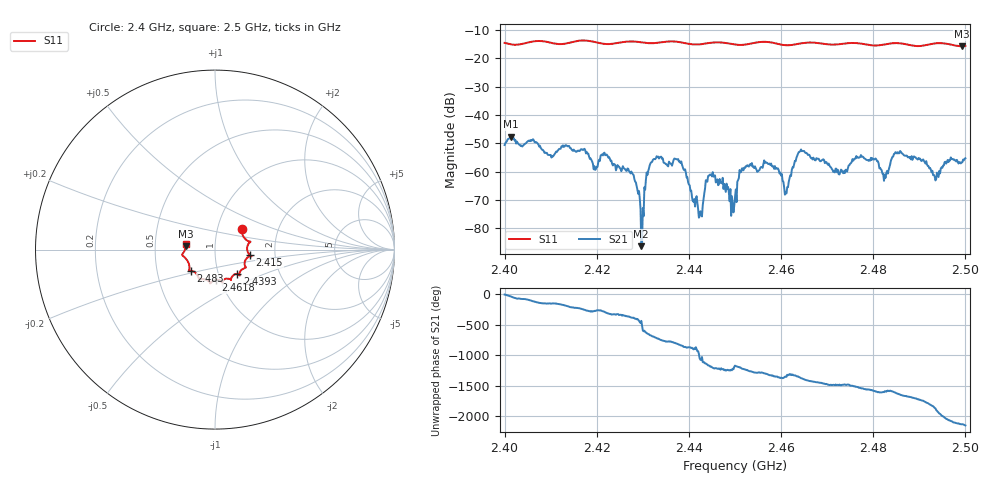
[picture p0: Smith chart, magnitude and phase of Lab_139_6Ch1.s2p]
# Hz S RI R 50
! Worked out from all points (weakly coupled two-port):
!   601 points, 2.4 GHz to 2.5 GHz, reference 50 ohm
!   highest |S21| = -47.72 dB at 2.4013 GHz (marker M1); lowest = -86.4 dB at 2.4297 GHz (marker M2)
!   lowest |S11| = -15.7 dB at 2.4992 GHz (marker M3), VSWR 1.39, Z = 36 + j1.36 ohm
!   |S11| at or under -10 dB: start of sweep to end of sweep
!   S12 and S22 are empty: the file has one direction only
!   S11 on the Smith chart (normalised r, x): 2.4 GHz: 1.31, +0.31; 2.415 GHz: 1.48, -0.10; 2.4393 GHz: 1.23, -0.35; 2.4618 GHz: 0.95, -0.34; 2.483 GHz: 0.74, -0.18; 2.5 GHz: 0.72, +0.05
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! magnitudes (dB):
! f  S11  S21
! 2.4 GHz  -14.5  -50.6
! 2.4013 GHz  -15.0  -47.7
! 2.415 GHz  -14.1  -52.2
! 2.4167 GHz  -13.7  -52.1
! 2.4272 GHz  -14.0  -60.1
! 2.4297 GHz  -14.3  -86.4
! 2.4313 GHz  -14.6  -58.8
! 2.4333 GHz  -14.4  -54.7
! 2.4393 GHz  -14.7  -60.3
! 2.4423 GHz  -15.0  -75.7
! 2.4447 GHz  -14.5  -61.0
! 2.45 GHz  -15.1  -69.3
! 2.4532 GHz  -14.8  -57.6
! 2.4618 GHz  -15.3  -62.3
! 2.464 GHz  -14.8  -53.0
! 2.4667 GHz  -14.4  -55.2
! 2.483 GHz  -14.9  -59.7
! 2.4833 GHz  -14.8  -59.5
! 2.4853 GHz  -14.6  -53.1
! 2.4937 GHz  -14.7  -62.6
! 2.4992 GHz  -15.7  -56.8
! 2.5 GHz  -15.6  -55.3
